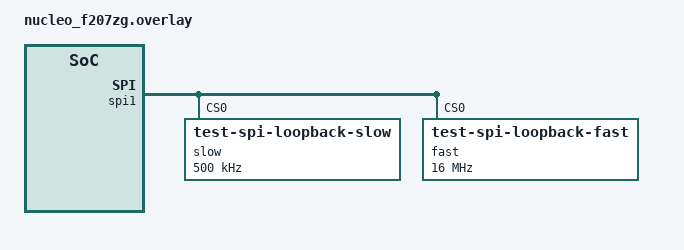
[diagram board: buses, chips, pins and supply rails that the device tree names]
/*
 * Copyright (c) 2020 Erwin Rol <erwin@erwinrol.com>
 *
 * SPDX-License-Identifier: Apache-2.0
 */

&dma1 {
	status = "okay";
};

tst_dma0: &dma2 {
	status = "okay";
};

&spi1 {
	dmas = <&dma2 5 3 0x28440 0x03>,
	       <&dma2 2 3 0x28480 0x03>;
	dma-names = "tx", "rx";
};

&spi1 {
	status = "okay";
	slow@0 {
		compatible = "test-spi-loopback-slow";
		reg = <0>;
		spi-max-frequency = <500000>;
	};
	fast@0 {
		compatible = "test-spi-loopback-fast";
		reg = <0>;
		spi-max-frequency = <16000000>;
	};
};

&dma2 {
	status = "okay";
};
